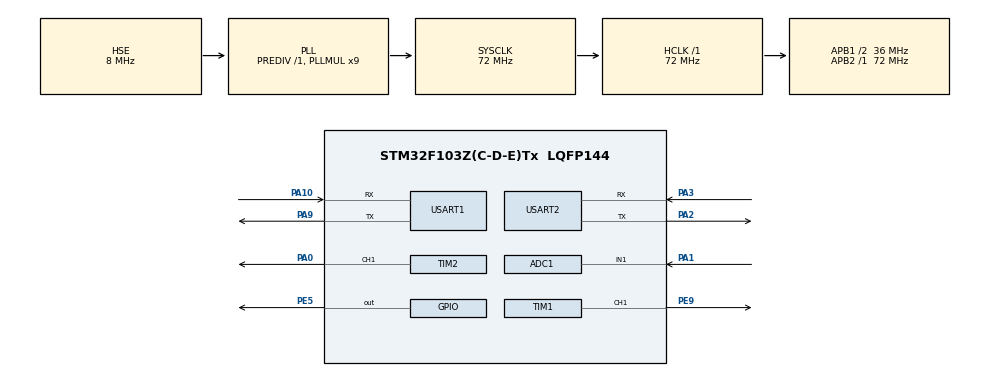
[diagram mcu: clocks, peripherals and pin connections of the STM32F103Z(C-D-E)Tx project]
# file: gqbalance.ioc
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ADC1.Channel-1\#ChannelRegularConversion=ADC_CHANNEL_1
ADC1.ContinuousConvMode=ENABLE
ADC1.NbrOfConversion=1
ADC1.NbrOfConversionFlag=1
ADC1.Rank-1\#ChannelRegularConversion=1
ADC1.SamplingTime-1\#ChannelRegularConversion=ADC_SAMPLETIME_55CYCLES_5
ADC1.master=1
Mcu.Family=STM32F1
Mcu.Name=STM32F103Z(C-D-E)Tx
Mcu.Package=LQFP144
NVIC.ADC1_2_IRQn=true\:1\:0\:true\:false\:true\:true\:true\:true
NVIC.PriorityGroup=NVIC_PRIORITYGROUP_4
NVIC.USART1_IRQn=true\:0\:0\:false\:false\:true\:true\:true\:true
NVIC.USART2_IRQn=true\:0\:0\:false\:false\:true\:true\:true\:true
OSC_IN.Mode=HSE-External-Oscillator
OSC_IN.Signal=RCC_OSC_IN
OSC_OUT.Mode=HSE-External-Oscillator
OSC_OUT.Signal=RCC_OSC_OUT
PA0-WKUP.Signal=S_TIM2_CH1_ETR
PA1.Signal=ADCx_IN1
PA10.Mode=Asynchronous
PA10.Signal=USART1_RX
PA13.Mode=Serial_Wire
PA13.Signal=SYS_JTMS-SWDIO
PA14.Mode=Serial_Wire
PA14.Signal=SYS_JTCK-SWCLK
PA2.Mode=Asynchronous
PA2.Signal=USART2_TX
PA3.Mode=Asynchronous
PA3.Signal=USART2_RX
PA9.Mode=Asynchronous
PA9.Signal=USART1_TX
PE5.Signal=GPIO_Output
PE9.Signal=S_TIM1_CH1
ProjectManager.HeapSize=0x200
ProjectManager.StackSize=0x400
ProjectManager.TargetToolchain=Makefile
RCC.ADCPresc=RCC_ADCPCLK2_DIV6
RCC.AHBFreq_Value=72000000
RCC.APB1CLKDivider=RCC_HCLK_DIV2
RCC.APB1Freq_Value=36000000
RCC.APB1TimFreq_Value=72000000
RCC.APB2Freq_Value=72000000
RCC.APB2TimFreq_Value=72000000
RCC.HCLKFreq_Value=72000000
RCC.PLLMUL=RCC_PLL_MUL9
RCC.PLLSourceVirtual=RCC_PLLSOURCE_HSE
RCC.SYSCLKFreq_VALUE=72000000
RCC.SYSCLKSource=RCC_SYSCLKSOURCE_PLLCLK
RCC.USBFreq_Value=72000000
SH.ADCx_IN1.0=ADC1_IN1,IN1
SH.S_TIM1_CH1.0=TIM1_CH1,PWM Generation1 CH1
SH.S_TIM2_CH1_ETR.0=TIM2_CH1,PWM Generation1 CH1
TIM1.Channel-PWM\ Generation1\ CH1=TIM_CHANNEL_1
TIM1.Period=4999
TIM1.Prescaler=71
TIM2.Channel-PWM\ Generation1\ CH1=TIM_CHANNEL_1
TIM2.Period=4999
TIM2.Prescaler=71
USART1.VirtualMode=VM_ASYNC
USART2.VirtualMode=VM_ASYNC
VP_TIM1_VS_ClockSourceINT.Mode=Internal
VP_TIM2_VS_ClockSourceINT.Mode=Internal
board=custom

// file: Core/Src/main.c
/* USER CODE BEGIN Header */
/**
 ******************************************************************************
 * @file           : main.c
 * @brief          : Main program body
 ******************************************************************************
 * @attention
 *
 * Copyright (c) 2024 STMicroelectronics.
 * All rights reserved.
 *
 * This software is licensed under terms that can be found in the LICENSE file
 * in the root directory of this software component.
 * If no LICENSE file comes with this software, it is provided AS-IS.
 *
 ******************************************************************************
 */
/* USER CODE END Header */
#include "main.h"
#include "adc.h"
#include "tim.h"
#include "usart.h"
#include "gpio.h"

/* USER CODE BEGIN Includes */
#include "user.h"
/* USER CODE END Includes */

/* USER CODE BEGIN PV */
char rx_data[10] = {0};
float distance   = 0;
float targetDis  = 0;
// 初始延时501躲开开机时的蜂鸣器
uint32_t sTime    = (uint32_t)-501;
float lastAngle   = 0;
float kp          = 0.5;
float ki          = 0.1;
float kd          = 0.1;
float lastError   = 0;
float integral    = 0;
float maxIntegral = 100;
/* USER CODE END PV */

void SystemClock_Config(void);

int main(void)
{

    /* MCU Configuration--------------------------------------------------------*/

    /* Reset of all peripherals, Initializes the Flash interface and the Systick. */
    HAL_Init();

    /* Configure the system clock */
    SystemClock_Config();

    /* Initialize all configured peripherals */
    MX_GPIO_Init();
    MX_ADC1_Init();
    MX_TIM1_Init();
    MX_USART1_UART_Init();
    MX_TIM2_Init();
    MX_USART2_UART_Init();

    /* Infinite loop */
    /* USER CODE BEGIN WHILE */
    // 蜂鸣器设0后开启
    __HAL_TIM_SetCompare(&htim1, TIM_CHANNEL_1, 0);
    HAL_TIM_PWM_Start(&htim1, TIM_CHANNEL_1);
    // 校准adc1
    HAL_ADCEx_Calibration_Start(&hadc1);
    HAL_ADC_Start_IT(&hadc1);
    // 串口接收
    HAL_UART_Receive_IT(&USE_UART, (uint8_t *)rx_data, 1);
    // 舵机设为0
    ServoSetAngle(0);

    while (1) {
        // 蜂鸣器定时
        if (HAL_GetTick() - sTime > 500) {
            __HAL_TIM_SetAutoreload(&htim1, 499);
            __HAL_TIM_SetCompare(&htim1, TIM_CHANNEL_1, 249);
        }
        if (HAL_GetTick() - sTime > 1000) {
            __HAL_TIM_SetAutoreload(&htim1, 249);
            __HAL_TIM_SetCompare(&htim1, TIM_CHANNEL_1, 124);
        }
        if (HAL_GetTick() - sTime > 1500)
            __HAL_TIM_SetCompare(&htim1, TIM_CHANNEL_1, 0);

        float error = targetDis - distance;
        integral += error;
        if (integral > maxIntegral)
            integral = maxIntegral;
        if (integral < -maxIntegral)
            integral = -maxIntegral;
        float output = kp * error + ki * integral + kd * (error - lastError);
        lastError    = error;
        servoControl(output);

        HAL_Delay(10);
        /* USER CODE END WHILE */

    }
}

void SystemClock_Config(void)
{
    RCC_OscInitTypeDef RCC_OscInitStruct   = {0};
    RCC_ClkInitTypeDef RCC_ClkInitStruct   = {0};
    RCC_PeriphCLKInitTypeDef PeriphClkInit = {0};

    /** Initializes the RCC Oscillators according to the specified parameters
     * in the RCC_OscInitTypeDef structure.
     */
    RCC_OscInitStruct.OscillatorType = RCC_OSCILLATORTYPE_HSE;
    RCC_OscInitStruct.HSEState       = RCC_HSE_ON;
    RCC_OscInitStruct.HSEPredivValue = RCC_HSE_PREDIV_DIV1;
    RCC_OscInitStruct.HSIState       = RCC_HSI_ON;
    RCC_OscInitStruct.PLL.PLLState   = RCC_PLL_ON;
    RCC_OscInitStruct.PLL.PLLSource  = RCC_PLLSOURCE_HSE;
    RCC_OscInitStruct.PLL.PLLMUL     = RCC_PLL_MUL9;
    if (HAL_RCC_OscConfig(&RCC_OscInitStruct) != HAL_OK) {
        Error_Handler();
    }

    /** Initializes the CPU, AHB and APB buses clocks
     */
    RCC_ClkInitStruct.ClockType      = RCC_CLOCKTYPE_HCLK | RCC_CLOCKTYPE_SYSCLK | RCC_CLOCKTYPE_PCLK1 | RCC_CLOCKTYPE_PCLK2;
    RCC_ClkInitStruct.SYSCLKSource   = RCC_SYSCLKSOURCE_PLLCLK;
    RCC_ClkInitStruct.AHBCLKDivider  = RCC_SYSCLK_DIV1;
    RCC_ClkInitStruct.APB1CLKDivider = RCC_HCLK_DIV2;
    RCC_ClkInitStruct.APB2CLKDivider = RCC_HCLK_DIV1;

    if (HAL_RCC_ClockConfig(&RCC_ClkInitStruct, FLASH_LATENCY_2) != HAL_OK) {
        Error_Handler();
    }
    PeriphClkInit.PeriphClockSelection = RCC_PERIPHCLK_ADC;
    PeriphClkInit.AdcClockSelection    = RCC_ADCPCLK2_DIV6;
    if (HAL_RCCEx_PeriphCLKConfig(&PeriphClkInit) != HAL_OK) {
        Error_Handler();
    }
}

void Error_Handler(void)
{
    __disable_irq();
    while (1) {
    }
}
